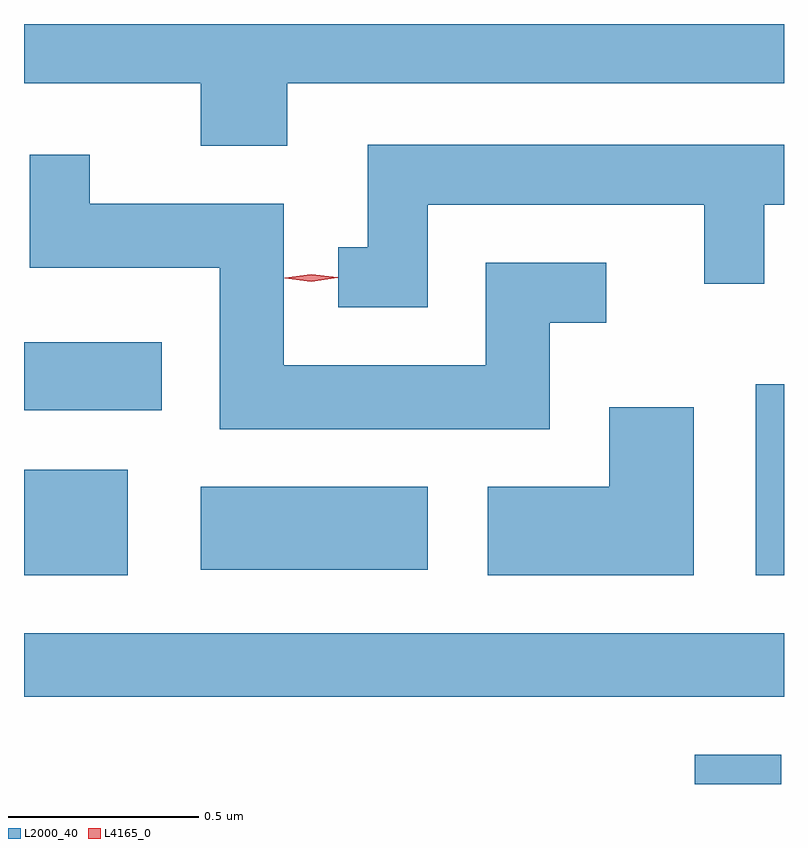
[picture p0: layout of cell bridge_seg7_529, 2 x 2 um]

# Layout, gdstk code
import gdstk
lib = gdstk.Library(unit=1e-6, precision=1e-09)
def R(c, l, rs):  # rectangles x0, y0, x1, y1
    for r in rs: c.add(gdstk.rectangle(r[:2], r[2:], *l))
def P(c, l, *ps):  # polygons
    for p in ps: c.add(gdstk.Polygon(p, *l))
L2000_40 = (2000, 40)
L4165_0 = (4165, 0)

bridge_seg7_529 = lib.new_cell('bridge_seg7_529')
R(bridge_seg7_529, L2000_40, [(1347.271,1690.272,1347.499,1690.349), (1345.506,1690.501,1347.506,1690.669), (1345.506,1690.821,1345.779,1691.099), (1347.431,1690.821,1347.506,1691.324), (1345.971,1690.836,1346.569,1691.054), (1345.506,1691.256,1345.869,1691.434)])
P(bridge_seg7_529, L2000_40, [(1346.199,1692.116),(1347.506,1692.116),(1347.506,1692.272),(1345.506,1692.272),(1345.506,1692.116),(1345.971,1692.116),(1345.971,1691.951),(1346.199,1691.951)],
  [(1346.569,1691.796),(1347.296,1691.796),(1347.296,1691.588),(1347.454,1691.588),(1347.454,1691.796),(1347.506,1691.796),(1347.506,1691.954),(1346.411,1691.954),(1346.411,1691.684),(1346.333,1691.684),(1346.333,1691.526),(1346.569,1691.526)],
  [(1346.889,1691.486),(1347.038,1691.486),(1347.038,1691.644),(1346.721,1691.644),(1346.721,1691.374),(1346.189,1691.374),(1346.189,1691.799),(1345.679,1691.799),(1345.679,1691.928),(1345.521,1691.928),(1345.521,1691.631),(1346.021,1691.631),(1346.021,1691.206),(1346.889,1691.206)],
  [(1347.269,1691.264),(1347.046,1691.264),(1347.046,1691.054),(1346.726,1691.054),(1346.726,1690.821),(1347.269,1690.821)])
P(bridge_seg7_529, L4165_0, [(1346.262,1691.594),(1346.192,1691.603),(1346.192,1691.604),(1346.192,1691.604),(1346.262,1691.614),(1346.331,1691.605),(1346.331,1691.604),(1346.331,1691.604)])

lib.write_gds('bridge_seg7_529.gds')
